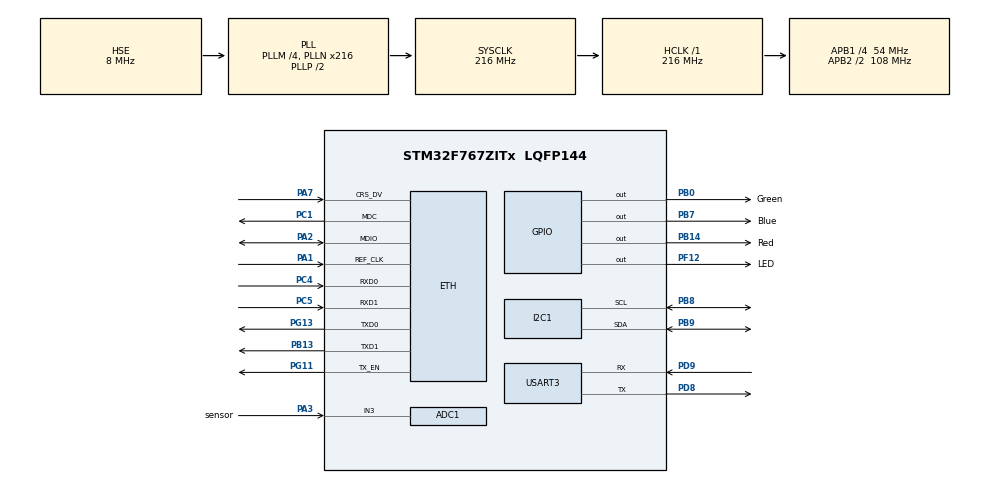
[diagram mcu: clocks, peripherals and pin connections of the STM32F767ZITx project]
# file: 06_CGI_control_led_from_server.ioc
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ADC1.Channel-2\#ChannelRegularConversion=ADC_CHANNEL_3
ADC1.NbrOfConversionFlag=1
ADC1.Rank-2\#ChannelRegularConversion=1
ADC1.SamplingTime-2\#ChannelRegularConversion=ADC_SAMPLETIME_3CYCLES
ADC1.master=1
ETH.MediaInterface=ETH_MEDIA_INTERFACE_RMII
ETH.PhyAddress=0
I2C1.Timing=0x20404768
LWIP.LWIP_HTTPD=1
LWIP.LWIP_HTTPD_CGI=1
LWIP.LWIP_HTTPD_SSI=1
LWIP.Version=v2.1.2_Cube
Mcu.Family=STM32F7
Mcu.Name=STM32F767ZITx
Mcu.Package=LQFP144
NVIC.PriorityGroup=NVIC_PRIORITYGROUP_4
PA1.Mode=RMII
PA1.Signal=ETH_REF_CLK
PA13.Mode=Serial_Wire
PA13.Signal=SYS_JTMS-SWDIO
PA14.Mode=Serial_Wire
PA14.Signal=SYS_JTCK-SWCLK
PA2.Mode=RMII
PA2.Signal=ETH_MDIO
PA3.GPIO_Label=sensor
PA3.Signal=ADCx_IN3
PA7.Mode=RMII
PA7.Signal=ETH_CRS_DV
PB0.GPIO_Label=Green
PB0.Signal=GPIO_Output
PB13.Mode=RMII
PB13.Signal=ETH_TXD1
PB14.GPIO_Label=Red
PB14.Signal=GPIO_Output
PB7.GPIO_Label=Blue
PB7.Signal=GPIO_Output
PB8.Mode=I2C
PB8.Signal=I2C1_SCL
PB9.Mode=I2C
PB9.Signal=I2C1_SDA
PC1.Mode=RMII
PC1.Signal=ETH_MDC
PC4.Mode=RMII
PC4.Signal=ETH_RXD0
PC5.Mode=RMII
PC5.Signal=ETH_RXD1
PD8.Mode=Asynchronous
PD8.Signal=USART3_TX
PD9.Mode=Asynchronous
PD9.Signal=USART3_RX
PF12.GPIO_Label=LED
PF12.Signal=GPIO_Output
PG11.Mode=RMII
PG11.Signal=ETH_TX_EN
PG13.Mode=RMII
PG13.Signal=ETH_TXD0
PH0/OSC_IN.Mode=HSE-External-Clock-Source
PH0/OSC_IN.Signal=RCC_OSC_IN
PH1/OSC_OUT.Mode=HSE-External-Clock-Source
PH1/OSC_OUT.Signal=RCC_OSC_OUT
ProjectManager.HeapSize=0x200
ProjectManager.StackSize=0x400
ProjectManager.TargetToolchain=STM32CubeIDE
RCC.48MHZClocksFreq_Value=24000000
RCC.AHBFreq_Value=216000000
RCC.APB1CLKDivider=RCC_HCLK_DIV4
RCC.APB1Freq_Value=54000000
RCC.APB1TimFreq_Value=108000000
RCC.APB2CLKDivider=RCC_HCLK_DIV2
RCC.APB2Freq_Value=108000000
RCC.APB2TimFreq_Value=216000000
RCC.CortexFreq_Value=216000000
RCC.HCLKFreq_Value=216000000
RCC.HSE_VALUE=8000000
RCC.HSI_VALUE=16000000
RCC.LSE_VALUE=32768
RCC.PLLM=4
RCC.PLLMUL=RCC_PLL_MUL9
RCC.PLLN=216
RCC.PLLSourceVirtual=RCC_PLLSOURCE_HSE
RCC.PRESCALERUSB=RCC_USBCLKSOURCE_PLL_DIV1_5
RCC.SYSCLKFreq_VALUE=216000000
RCC.SYSCLKSource=RCC_SYSCLKSOURCE_PLLCLK
RCC.SYSCLKSourceVirtual=RCC_SYSCLKSOURCE_PLLCLK
RCC.USBFreq_Value=216000000
RCC.VCOOutputFreq_Value=432000000
SH.ADCx_IN3.0=ADC1_IN3,IN3
USART3.VirtualMode-Asynchronous=VM_ASYNC
VP_LWIP_VS_Enabled.Mode=Enabled
board=NUCLEO-F767ZI

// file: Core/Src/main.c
/* USER CODE BEGIN Header */
/**
  ******************************************************************************
  * @file           : main.c
  * @brief          : Main program body
  ******************************************************************************
  * @attention
  *
  * Copyright (c) 2022 STMicroelectronics.
  * All rights reserved.
  *
  * This software is licensed under terms that can be found in the LICENSE file
  * in the root directory of this software component.
  * If no LICENSE file comes with this software, it is provided AS-IS.
  *
  ******************************************************************************
  */
/* USER CODE END Header */
#include "main.h"
#include "lwip.h"

/* USER CODE BEGIN Includes */
#include "stdio.h"
#include "lwip/apps/httpd.h"
#include "ssi_process.h"
#include "cgi_process.h"
#include "ds3231.h"
/* USER CODE END Includes */

ADC_HandleTypeDef hadc1;

I2C_HandleTypeDef hi2c1;

UART_HandleTypeDef huart3;

/* USER CODE BEGIN PV */
extern struct netif gnetif;
char const** tags;
#define number_of_tags 2

extern tCGI CGI_ARR[1];
extern const tCGI LED_CGI;
uint32_t previous;

/* USER CODE END PV */

void SystemClock_Config(void);
static void MX_GPIO_Init(void);
static void MX_ADC1_Init(void);
static void MX_USART3_UART_Init(void);
static void MX_I2C1_Init(void);

/* USER CODE BEGIN 0 */
int __io_putchar (int ch)
	{

	HAL_UART_Transmit(&huart3, (uint8_t *)&ch, 1, 10);
	return ch;
	}

void ethernetif_notify_conn_changed(struct netif *netif)
{
if(netif_is_link_up(netif))
	{
	printf("cable is connected\r\n");
	}
else {printf("cable is disconnected\r\n ");}
}

/* USER CODE END 0 */

int main(void)
{

  /* MCU Configuration--------------------------------------------------------*/

  /* Reset of all peripherals, Initializes the Flash interface and the Systick. */
  HAL_Init();

  /* Configure the system clock */
  SystemClock_Config();

  /* Initialize all configured peripherals */
  MX_GPIO_Init();
  MX_ADC1_Init();
  MX_USART3_UART_Init();
  MX_LWIP_Init();
  MX_I2C1_Init();
  /* USER CODE BEGIN 2 */
  ethernetif_notify_conn_changed(&gnetif);
  //printf("IP address from dhcp: %s \r\n",ip4addr_ntoa(&gnetif.ip_addr));
  httpd_init();
  http_set_ssi_handler(ssi_handler,tags,number_of_tags);
  CGI_ARR[0] = LED_CGI;
  http_set_cgi_handlers(CGI_ARR,1);
  /* USER CODE END 2 */

  /* Infinite loop */
  while (1)
  {

    /* USER CODE BEGIN 3 */
	  MX_LWIP_Process();

	  printf("IP address from dhcp: %s \r\n",ip4addr_ntoa(&gnetif.ip_addr));
	  if(HAL_GetTick()-previous>1000)
	  	  	  {
		  	  previous=HAL_GetTick();
		  	  ds3231_update();
	  	  	  }

	// HAL_ADC_Start(&hadc1);
	 //printf("sensor value = %d\r\n",HAL_ADC_GetValue(&hadc1));

  }
  /* USER CODE END 3 */
}

void SystemClock_Config(void)
{
  RCC_OscInitTypeDef RCC_OscInitStruct = {0};
  RCC_ClkInitTypeDef RCC_ClkInitStruct = {0};

  /** Configure the main internal regulator output voltage
  */
  __HAL_RCC_PWR_CLK_ENABLE();
  __HAL_PWR_VOLTAGESCALING_CONFIG(PWR_REGULATOR_VOLTAGE_SCALE1);
  /** Initializes the RCC Oscillators according to the specified parameters
  * in the RCC_OscInitTypeDef structure.
  */
  RCC_OscInitStruct.OscillatorType = RCC_OSCILLATORTYPE_HSE;
  RCC_OscInitStruct.HSEState = RCC_HSE_BYPASS;
  RCC_OscInitStruct.PLL.PLLState = RCC_PLL_ON;
  RCC_OscInitStruct.PLL.PLLSource = RCC_PLLSOURCE_HSE;
  RCC_OscInitStruct.PLL.PLLM = 4;
  RCC_OscInitStruct.PLL.PLLN = 216;
  RCC_OscInitStruct.PLL.PLLP = RCC_PLLP_DIV2;
  RCC_OscInitStruct.PLL.PLLQ = 2;
  RCC_OscInitStruct.PLL.PLLR = 2;
  if (HAL_RCC_OscConfig(&RCC_OscInitStruct) != HAL_OK)
  {
    Error_Handler();
  }
  /** Activate the Over-Drive mode
  */
  if (HAL_PWREx_EnableOverDrive() != HAL_OK)
  {
    Error_Handler();
  }
  /** Initializes the CPU, AHB and APB buses clocks
  */
  RCC_ClkInitStruct.ClockType = RCC_CLOCKTYPE_HCLK|RCC_CLOCKTYPE_SYSCLK
                              |RCC_CLOCKTYPE_PCLK1|RCC_CLOCKTYPE_PCLK2;
  RCC_ClkInitStruct.SYSCLKSource = RCC_SYSCLKSOURCE_PLLCLK;
  RCC_ClkInitStruct.AHBCLKDivider = RCC_SYSCLK_DIV1;
  RCC_ClkInitStruct.APB1CLKDivider = RCC_HCLK_DIV4;
  RCC_ClkInitStruct.APB2CLKDivider = RCC_HCLK_DIV2;

  if (HAL_RCC_ClockConfig(&RCC_ClkInitStruct, FLASH_LATENCY_7) != HAL_OK)
  {
    Error_Handler();
  }
}

static void MX_ADC1_Init(void)
{

  ADC_ChannelConfTypeDef sConfig = {0};

  /** Configure the global features of the ADC (Clock, Resolution, Data Alignment and number of conversion)
  */
  hadc1.Instance = ADC1;
  hadc1.Init.ClockPrescaler = ADC_CLOCK_SYNC_PCLK_DIV4;
  hadc1.Init.Resolution = ADC_RESOLUTION_12B;
  hadc1.Init.ScanConvMode = ADC_SCAN_DISABLE;
  hadc1.Init.ContinuousConvMode = DISABLE;
  hadc1.Init.DiscontinuousConvMode = DISABLE;
  hadc1.Init.ExternalTrigConvEdge = ADC_EXTERNALTRIGCONVEDGE_NONE;
  hadc1.Init.ExternalTrigConv = ADC_SOFTWARE_START;
  hadc1.Init.DataAlign = ADC_DATAALIGN_RIGHT;
  hadc1.Init.NbrOfConversion = 1;
  hadc1.Init.DMAContinuousRequests = DISABLE;
  hadc1.Init.EOCSelection = ADC_EOC_SINGLE_CONV;
  if (HAL_ADC_Init(&hadc1) != HAL_OK)
  {
    Error_Handler();
  }
  /** Configure for the selected ADC regular channel its corresponding rank in the sequencer and its sample time.
  */
  sConfig.Channel = ADC_CHANNEL_3;
  sConfig.Rank = ADC_REGULAR_RANK_1;
  sConfig.SamplingTime = ADC_SAMPLETIME_3CYCLES;
  if (HAL_ADC_ConfigChannel(&hadc1, &sConfig) != HAL_OK)
  {
    Error_Handler();
  }

}

static void MX_I2C1_Init(void)
{

  hi2c1.Instance = I2C1;
  hi2c1.Init.Timing = 0x20404768;
  hi2c1.Init.OwnAddress1 = 0;
  hi2c1.Init.AddressingMode = I2C_ADDRESSINGMODE_7BIT;
  hi2c1.Init.DualAddressMode = I2C_DUALADDRESS_DISABLE;
  hi2c1.Init.OwnAddress2 = 0;
  hi2c1.Init.OwnAddress2Masks = I2C_OA2_NOMASK;
  hi2c1.Init.GeneralCallMode = I2C_GENERALCALL_DISABLE;
  hi2c1.Init.NoStretchMode = I2C_NOSTRETCH_DISABLE;
  if (HAL_I2C_Init(&hi2c1) != HAL_OK)
  {
    Error_Handler();
  }
  /** Configure Analogue filter
  */
  if (HAL_I2CEx_ConfigAnalogFilter(&hi2c1, I2C_ANALOGFILTER_ENABLE) != HAL_OK)
  {
    Error_Handler();
  }
  /** Configure Digital filter
  */
  if (HAL_I2CEx_ConfigDigitalFilter(&hi2c1, 0) != HAL_OK)
  {
    Error_Handler();
  }

}

static void MX_USART3_UART_Init(void)
{

  huart3.Instance = USART3;
  huart3.Init.BaudRate = 115200;
  huart3.Init.WordLength = UART_WORDLENGTH_8B;
  huart3.Init.StopBits = UART_STOPBITS_1;
  huart3.Init.Parity = UART_PARITY_NONE;
  huart3.Init.Mode = UART_MODE_TX_RX;
  huart3.Init.HwFlowCtl = UART_HWCONTROL_NONE;
  huart3.Init.OverSampling = UART_OVERSAMPLING_16;
  huart3.Init.OneBitSampling = UART_ONE_BIT_SAMPLE_DISABLE;
  huart3.AdvancedInit.AdvFeatureInit = UART_ADVFEATURE_NO_INIT;
  if (HAL_UART_Init(&huart3) != HAL_OK)
  {
    Error_Handler();
  }

}

static void MX_GPIO_Init(void)
{
  GPIO_InitTypeDef GPIO_InitStruct = {0};

  /* GPIO Ports Clock Enable */
  __HAL_RCC_GPIOH_CLK_ENABLE();
  __HAL_RCC_GPIOC_CLK_ENABLE();
  __HAL_RCC_GPIOA_CLK_ENABLE();
  __HAL_RCC_GPIOB_CLK_ENABLE();
  __HAL_RCC_GPIOF_CLK_ENABLE();
  __HAL_RCC_GPIOD_CLK_ENABLE();
  __HAL_RCC_GPIOG_CLK_ENABLE();

  /*Configure GPIO pin Output Level */
  HAL_GPIO_WritePin(GPIOB, Green_Pin|Red_Pin|Blue_Pin, GPIO_PIN_RESET);

  /*Configure GPIO pin Output Level */
  HAL_GPIO_WritePin(LED_GPIO_Port, LED_Pin, GPIO_PIN_RESET);

  /*Configure GPIO pins : Green_Pin Red_Pin Blue_Pin */
  GPIO_InitStruct.Pin = Green_Pin|Red_Pin|Blue_Pin;
  GPIO_InitStruct.Mode = GPIO_MODE_OUTPUT_PP;
  GPIO_InitStruct.Pull = GPIO_NOPULL;
  GPIO_InitStruct.Speed = GPIO_SPEED_FREQ_LOW;
  HAL_GPIO_Init(GPIOB, &GPIO_InitStruct);

  /*Configure GPIO pin : LED_Pin */
  GPIO_InitStruct.Pin = LED_Pin;
  GPIO_InitStruct.Mode = GPIO_MODE_OUTPUT_PP;
  GPIO_InitStruct.Pull = GPIO_NOPULL;
  GPIO_InitStruct.Speed = GPIO_SPEED_FREQ_LOW;
  HAL_GPIO_Init(LED_GPIO_Port, &GPIO_InitStruct);

}

void Error_Handler(void)
{
  __disable_irq();
  while (1)
  {
  }
}
